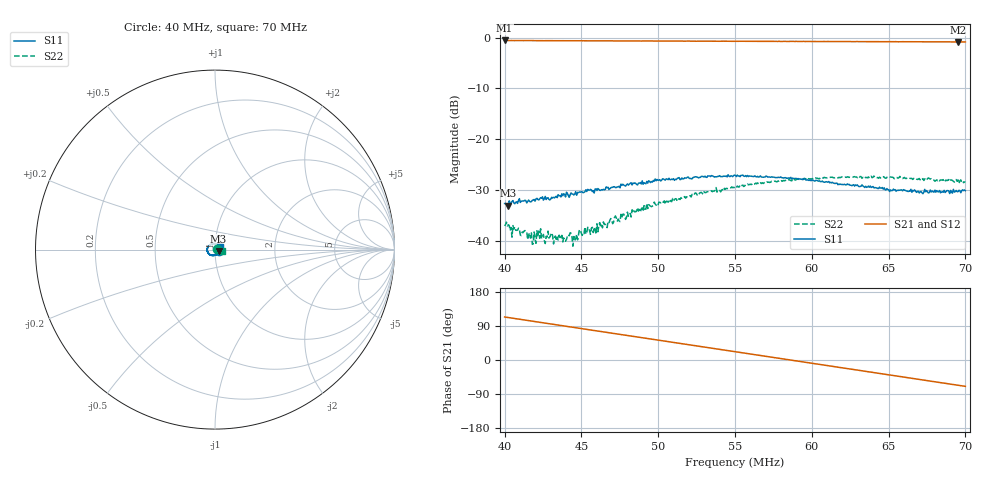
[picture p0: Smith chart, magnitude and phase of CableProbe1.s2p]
#  HZ  S  DB  R  50.00
! Rohde & Schwarz Vector Network Analyzer
! Rohde-Schwarz,ZNB8-4Port,1311601044102961,2.82
! Created: UTC 1/14/2019, 10:42:34 AM
! freq[Hz]  db:S11  ang:S11  db:S21  ang:S21  db:S12  ang:S12  db:S22  ang:S22
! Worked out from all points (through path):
!   500 points, 40 MHz to 70 MHz, reference 50 ohm
!   highest |S21| = -0.56 dB at 40 MHz (marker M1); lowest = -0.9 dB at 69.52 MHz (marker M2)
!   group delay of S21, straight-line fit = 16.9 ns
!   lowest |S11| = -33.1 dB at 40.24 MHz (marker M3), VSWR 1.05, Z = 52 - j1.07 ohm
!   |S11| at or under -10 dB: start of sweep to end of sweep
!   |S22| runs from -41.1 to -27.3 dB; largest |S21 - S12| = 0.011
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4e7  -32.68 -25.0  -0.56 113.5  -0.66 113.7  -37.08 18.4
4.024048e7  -33.11 -27.7  -0.57 112.0  -0.66 112.3  -36.85 18.9
4.048096e7  -32.28 -28.6  -0.57 110.5  -0.66 110.8  -39.30 12.9
4.132265e7  -32.02 -39.9  -0.59 105.4  -0.67 105.6  -38.00 22.6
4.192385e7  -31.88 -50.1  -0.59 101.7  -0.68 101.9  -38.28 24.8
4.222445e7  -31.98 -55.9  -0.60 99.9  -0.68 100.1  -38.10 22.3
4.252505e7  -32.00 -57.1  -0.60 98.1  -0.69 98.2  -38.75 27.8
4.294589e7  -31.95 -63.2  -0.59 95.5  -0.68 95.7  -39.23 22.4
4.390782e7  -30.91 -73.3  -0.62 89.6  -0.70 89.8  -40.05 37.1
4.420842e7  -31.45 -79.9  -0.61 87.7  -0.70 88.0  -39.02 44.0
4.450902e7  -30.98 -81.1  -0.62 85.9  -0.71 86.2  -39.17 49.5
4.50501e7  -30.37 -88.7  -0.62 82.6  -0.70 82.9  -38.95 53.2
4.757515e7  -28.85 -111.9  -0.65 67.2  -0.72 67.5  -34.81 58.4
5.004008e7  -28.07 -131.6  -0.67 52.2  -0.76 52.3  -32.42 54.9
5.268537e7  -27.53 -154.5  -0.69 36.1  -0.77 36.1  -30.64 44.1
5.503006e7  -27.11 -172.6  -0.72 21.7  -0.79 21.7  -29.32 35.7
5.743487e7  -27.47 168.2  -0.74 7.1  -0.82 7.0  -28.40 23.9
6.002004e7  -28.05 144.0  -0.77 -8.7  -0.83 -8.7  -27.76 13.9
6.254509e7  -29.05 117.4  -0.78 -24.1  -0.85 -24.1  -27.50 5.2
6.501002e7  -29.96 89.1  -0.81 -39.2  -0.88 -39.2  -27.41 -5.2
6.951904e7  -30.35 25.3  -0.85 -66.6  -0.91 -66.7  -28.02 -13.3
7e7  -30.14 22.5  -0.85 -69.5  -0.91 -69.6  -28.39 -11.8
